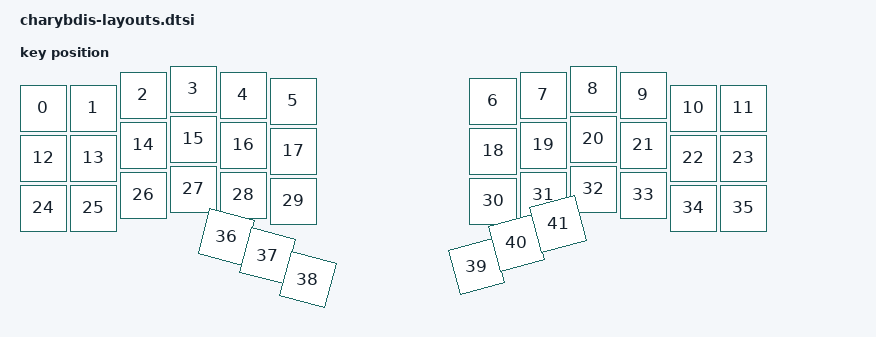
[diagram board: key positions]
#include <physical_layouts.dtsi>

/ {
    charybdis_physical_layout: charybdis_physical_layout {
        compatible = "zmk,physical-layout";
        display-name = "Charybdis 4x6";

        kscan = <&kscan0>;
        transform = <&default_transform>;

        keys  //                  w    h    x    y     rot   rx   ry
            // Row 0 - Left half
            = <&key_physical_attrs 100 100    0   38      0    0    0>   // RC(0,0)
            , <&key_physical_attrs 100 100  100   38      0    0    0>   // RC(0,1)
            , <&key_physical_attrs 100 100  200   12      0    0    0>   // RC(0,2)
            , <&key_physical_attrs 100 100  300    0      0    0    0>   // RC(0,3)
            , <&key_physical_attrs 100 100  400   12      0    0    0>   // RC(0,4)
            , <&key_physical_attrs 100 100  500   24      0    0    0>   // RC(0,5)
            // Row 0 - Right half
            , <&key_physical_attrs 100 100  900   24      0    0    0>   // RC(0,11)
            , <&key_physical_attrs 100 100 1000   12      0    0    0>   // RC(0,10)
            , <&key_physical_attrs 100 100 1100    0      0    0    0>   // RC(0,9)
            , <&key_physical_attrs 100 100 1200   12      0    0    0>   // RC(0,8)
            , <&key_physical_attrs 100 100 1300   38      0    0    0>   // RC(0,7)
            , <&key_physical_attrs 100 100 1400   38      0    0    0>   // RC(0,6)
            // Row 1 - Left half
            , <&key_physical_attrs 100 100    0  138      0    0    0>   // RC(1,0)
            , <&key_physical_attrs 100 100  100  138      0    0    0>   // RC(1,1)
            , <&key_physical_attrs 100 100  200  112      0    0    0>   // RC(1,2)
            , <&key_physical_attrs 100 100  300  100      0    0    0>   // RC(1,3)
            , <&key_physical_attrs 100 100  400  112      0    0    0>   // RC(1,4)
            , <&key_physical_attrs 100 100  500  124      0    0    0>   // RC(1,5)
            // Row 1 - Right half
            , <&key_physical_attrs 100 100  900  124      0    0    0>   // RC(1,11)
            , <&key_physical_attrs 100 100 1000  112      0    0    0>   // RC(1,10)
            , <&key_physical_attrs 100 100 1100  100      0    0    0>   // RC(1,9)
            , <&key_physical_attrs 100 100 1200  112      0    0    0>   // RC(1,8)
            , <&key_physical_attrs 100 100 1300  138      0    0    0>   // RC(1,7)
            , <&key_physical_attrs 100 100 1400  138      0    0    0>   // RC(1,6)
            // Row 2 - Left half
            , <&key_physical_attrs 100 100    0  238      0    0    0>   // RC(2,0)
            , <&key_physical_attrs 100 100  100  238      0    0    0>   // RC(2,1)
            , <&key_physical_attrs 100 100  200  212      0    0    0>   // RC(2,2)
            , <&key_physical_attrs 100 100  300  200      0    0    0>   // RC(2,3)
            , <&key_physical_attrs 100 100  400  212      0    0    0>   // RC(2,4)
            , <&key_physical_attrs 100 100  500  224      0    0    0>   // RC(2,5)
            // Row 2 - Right half
            , <&key_physical_attrs 100 100  900  224      0    0    0>   // RC(2,11)
            , <&key_physical_attrs 100 100 1000  212      0    0    0>   // RC(2,10)
            , <&key_physical_attrs 100 100 1100  200      0    0    0>   // RC(2,9)
            , <&key_physical_attrs 100 100 1200  212      0    0    0>   // RC(2,8)
            , <&key_physical_attrs 100 100 1300  238      0    0    0>   // RC(2,7)
            , <&key_physical_attrs 100 100 1400  238      0    0    0>   // RC(2,6)
            // Row 3 - Left thumb cluster
            , <&key_physical_attrs 100 100  350  320   1500  500  420>   // RC(3,3)
            , <&key_physical_attrs 100 100  440  335   1500  500  420>   // RC(3,4)
            , <&key_physical_attrs 100 100  530  360   1500  500  420>   // RC(3,5)
            // Row 3 - Right thumb cluster
            , <&key_physical_attrs 100 100  870  360 (-1500) 900  420>   // RC(3,11)
            , <&key_physical_attrs 100 100  960  335 (-1500) 900  420>   // RC(3,10)
            , <&key_physical_attrs 100 100 1050  320 (-1500) 900  420>   // RC(3,9)
            ;
    };
};
